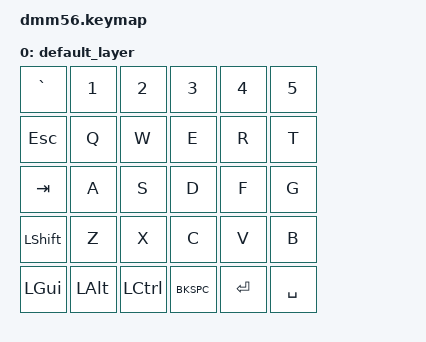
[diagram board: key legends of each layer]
/*
 * Copyright (c) 2020 The ZMK Contributors
 *
 * SPDX-License-Identifier: MIT
 */

#include <behaviors.dtsi>
#include <dt-bindings/zmk/keys.h>
#include <dt-bindings/zmk/bt.h>

/ {
    keymap {
        compatible = "zmk,keymap";

        default_layer {
// ------------------------------------------------------------------------------------------------------------
// |  `    |  1  |  2  |  3   |  4   |  5   |                   |  6   |  7    |  8    |  9   |   0   |       |
// |  ESC  |  Q  |  W  |  E   |  R   |  T   |                   |  Y   |  U    |  I    |  O   |   P   | BKSPC |
// |  TAB  |  A  |  S  |  D   |  F   |  G   |                   |  H   |  J    |  K    |  L   |   ;   |   '   |
// | SHIFT |  Z  |  X  |  C   |  V   |  B   |  MUTE  |  |       |  N   |  M    |  ,    |  .   |   /   | SHIFT |
//               | GUI | ALT  | CTRL | LOWER|  ENTER |  | SPACE | RAISE| CTRL  | ALT   | GUI  |
            bindings = <
&kp GRAVE &kp N1 &kp N2   &kp N3   &kp N4    &kp N5
&kp ESC   &kp Q  &kp W    &kp E    &kp R     &kp T
&kp TAB   &kp A  &kp S    &kp D    &kp F     &kp G
&kp LSHFT &kp Z  &kp X    &kp C    &kp V     &kp B
&kp LGUI &kp LALT &kp LCTRL &kp BKSPC &kp RET &kp SPACE
            >;
        };
    };
};
